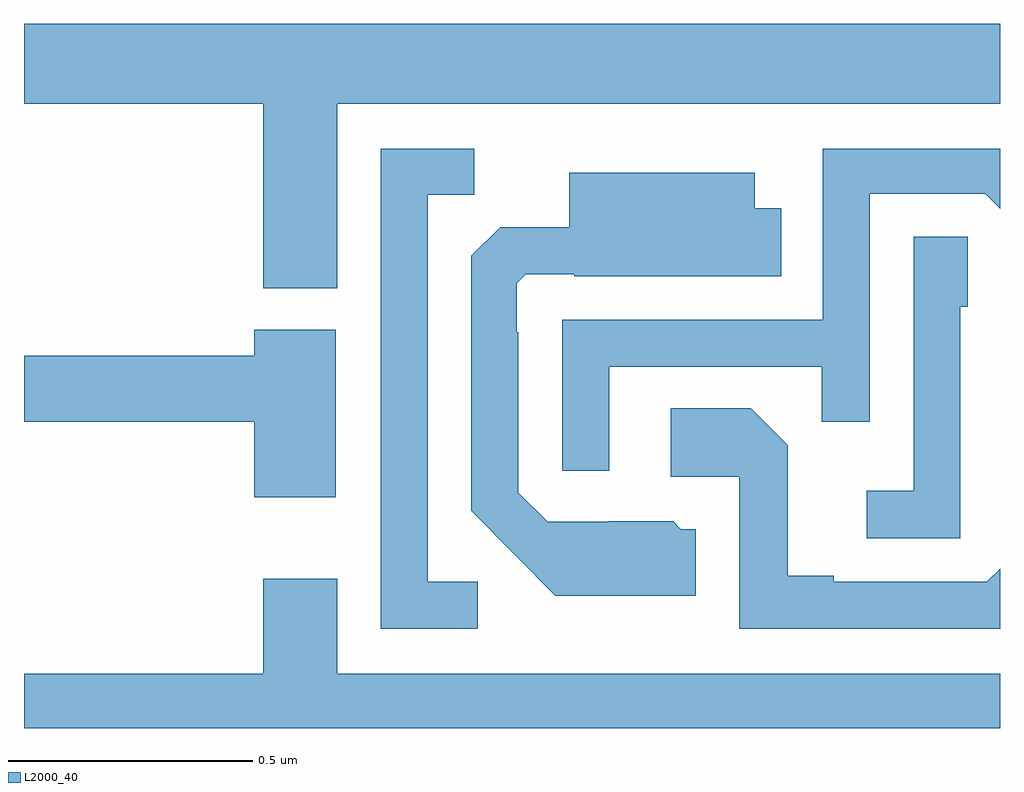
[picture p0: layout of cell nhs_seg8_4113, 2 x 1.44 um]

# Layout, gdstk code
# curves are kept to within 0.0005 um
import gdstk
lib = gdstk.Library(unit=1e-6, precision=1e-09)
def P(c, l, *ps):  # polygons
    for p in ps: c.add(gdstk.Polygon(p, *l))
L2000_40 = (2000, 40)

nhs_seg8_4113 = lib.new_cell('nhs_seg8_4113')
P(nhs_seg8_4113, L2000_40, [(166.642,1103.18),(168,1103.18),(168,1103.344),(166,1103.344),(166,1103.18),(166.49,1103.18),(166.49,1102.802),(166.642,1102.802)],
  [(166.93,1102.2),(166.827,1102.2),(166.827,1102.993),(166.923,1102.993),(166.923,1103.088),(166.731,1103.088),(166.731,1102.104),(166.93,1102.104)],
  [(167.199,1102.641),(167.635,1102.641),(167.635,1102.528),(167.733,1102.528),(167.733,1102.995),(167.97,1102.995),(168,1102.965),(168,1103.088),(167.637,1103.088),(167.637,1102.737),(167.103,1102.737),(167.103,1102.428),(167.199,1102.428)],
  [(167.377,1102.308),(167.346,1102.308),(167.33,1102.324),(167.196,1102.324),(167.196,1102.323),(167.073,1102.323),(167.013,1102.383),(167.013,1102.712),(167.01,1102.712),(167.01,1102.812),(167.028,1102.83),(167.128,1102.83),(167.128,1102.826),(167.552,1102.826),(167.552,1102.966),(167.497,1102.966),(167.497,1103.038),(167.117,1103.038),(167.117,1102.927),(166.976,1102.927),(166.917,1102.868),(166.917,1102.346),(167.089,1102.172),(167.377,1102.172)],
  [(167.919,1102.764),(167.934,1102.764),(167.934,1102.907),(167.823,1102.907),(167.823,1102.387),(167.727,1102.387),(167.727,1102.29),(167.919,1102.29)],
  [(166.639,1102.717),(166.472,1102.717),(166.472,1102.664),(166,1102.664),(166,1102.528),(166.472,1102.528),(166.472,1102.374),(166.639,1102.374)],
  [(168,1102.227),(167.973,1102.2),(167.659,1102.2),(167.659,1102.213),(167.565,1102.213),(167.565,1102.48),(167.489,1102.556),(167.325,1102.556),(167.325,1102.416),(167.466,1102.416),(167.466,1102.104),(168,1102.104)],
  [(168,1102.012),(166.642,1102.012),(166.642,1102.207),(166.49,1102.207),(166.49,1102.012),(166,1102.012),(166,1101.9),(168,1101.9)])

lib.write_gds('nhs_seg8_4113.gds')
